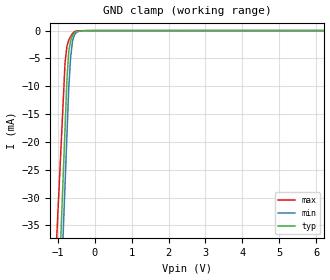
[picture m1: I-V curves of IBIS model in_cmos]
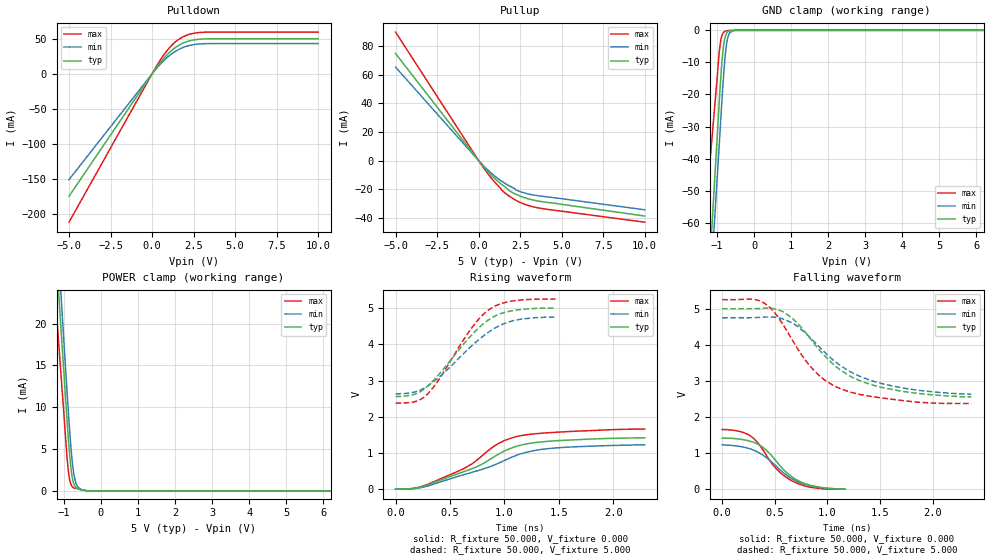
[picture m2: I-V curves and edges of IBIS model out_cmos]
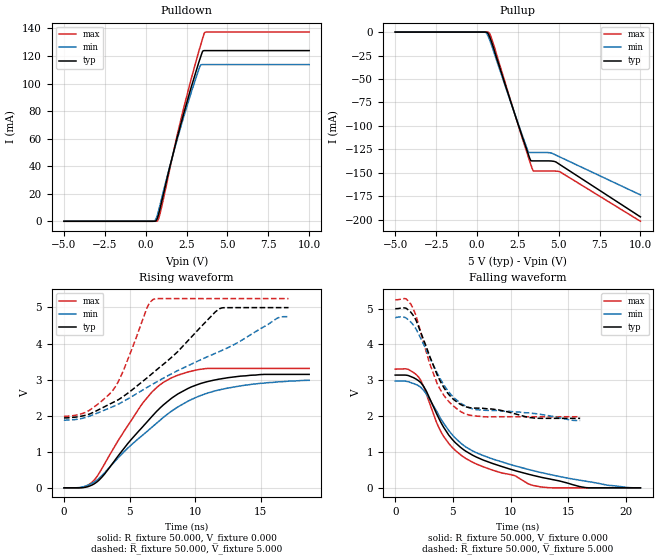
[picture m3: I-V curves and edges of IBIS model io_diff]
| Teraspeed Modeling Services.
| http://www.teraspeed.com
[IBIS Ver]  3.2
[File Name] adm1485arz.ibs
[File Rev]  3.0
[Source]  Measured and created by Teraspeed Consulting Group LLC
[Date]   1/06/10
[Notes]   Quality Check of this IBIS model: Model Passes IBIS Check
   Model parses into ICX IS. Simulation done with Hyperlynx.
   1. MIN TYP MAX information is based on Temperature and
   Voltage characteristics only.
   2. Package data gained using Tektronix Iconnect Software.
[Disclaimer]
| Use: Teraspeed Consulting Group LLC ("Teraspeed") has
| licensed IBIS models to specific integrated circuit
| suppliers ("IC Vendors") for use and distribution as
| follows: Each IC Vendor may use IBIS Models, and distribute
| them to IC Vendor's customers to use solely for developing
| printed circuit board designs. Users of this model may
| modify the IBIS model to suit its specific applications but
| rights to derivative works and such modifications shall belong
| to Teraspeed. No other distribution of these materials is
| permitted.
| DISCLAIMER OF WARRANTY: UNLESS OTHERWISE AGREED TO IN WRITING
| TERASPEED DISCLAIMS AND USER WAIVES ALL WARRANTIES, EXPRESS
| OR IMPLIED, INCLUDING WARRANTIES OF MERCHANTABILITY AND
| FITNESS FOR A PARTICULAR PURPOSE. IN NO EVENT SHALL
| TERASPEED BE LIABLE FOR ANY DIRECT OR INDIRECT DAMAGES,
| WHETHER IN CONTRACT OR TORT, INCLUDING, WITHOUT LIMITATION,
| LOST PROFITS, BUSINESS INTERRUPTION, OR LOST INFORMATION
| ARISING OUT OF THE USE OF OR THE INABILITY TO USE THE MODEL,
| EVEN IF TERASPEED HAS BEEN ADVISED OF THE POSSIBILITY OF SUCH
| DAMAGES.
[Copyright]
| This file is the legal property of Teraspeed Copyright(c) 2010.
| All other rights are reserved.
[Component]   ADM1485ARZ
[Manufacturer] Analog Devices
[Package]
| variable   typ   min   max
R_pkg  1.000E-02  1.000E-02  1.000E-02
L_pkg  1.995E-09  1.720E-09  2.190E-09
C_pkg  7.030E-13  6.650E-13  7.410E-13
[Pin] signal_name  model_name  R_pin  L_pin C_pin
1   RO   out_cmos  1.000E-02 2.190E-09 7.410E-13
2   *RE  in_cmos   1.000E-02 1.720E-09 6.650E-13
3   DE   in_cmos   1.000E-02 1.720E-09 6.650E-13
4   DI   in_cmos   1.000E-02 2.190E-09 7.410E-13
5   GND  GND   1.000E-02 2.190E-09 7.410E-13
6   A   io_diff   1.000E-02 1.720E-09 6.650E-13
7   B   io_diff   1.000E-02 1.720E-09 6.650E-13
8   VCC  POWER   1.000E-02 2.190E-09 7.410E-13
[Diff Pin] inv_pin vdiff tdelay_typ tdelay_min tdelay_max
6  7  200mV  1n  0n  5n
| Models and submodels in the file (3): in_cmos (Input), out_cmos (3-state), io_diff (I/O)
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[Model] in_cmos
Model_type Input
Vinl = 800.000mV
Vinh = 2.00000V
C_comp 1.21000pF 1.21000pF 1.21000pF
| variable typ   min   max
[Voltage Range] 5.00000V 4.75000V 5.25000V
[POWER Clamp Reference] 5.00000V 4.75000V 5.25000V
[GND Clamp Reference] 0.00000V 0.00000V 0.00000V
[Temperature Range]   25   85   -40
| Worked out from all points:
|   GND clamp passes 1 mA (typ) near -0.60 V on its own axis
[GND Clamp]
-5V       -739mA     -756.4mA   -589.3mA
-800mV    -17.49mA   -27.63mA   -5.761mA
-750mV    -8.902mA   -18.96mA   -2.82mA
-700mV    -3.761mA   -10.28mA   -1.695mA
-650mV    -1.8mA     -4.856mA   -1.06mA
-600mV    -919.8uA   -1.899mA   -550.9uA
-550mV    -460.1uA   -805.9uA   -222.9uA
-500mV    -194.5uA   -362uA     -62.22uA
-400mV    -130uA     -43.58uA   -38.03uA
-200mV    -26.29uA   -2.162uA   -1.712uA
10V       2.348uA    4.649uA    3.992uA
[POWER Clamp]
-5V       0A         0A         0A
10V       0A         0A         0A
[Model]   out_cmos
Model_type 3-state
Vref=0.000E+00
Rref=1.000E+06
Cref=1.500E-11
Vmeas=2.500E+00
C_comp   4.560E-13   4.470E-13   4.650E-13
[Voltage Range]   5.000E+00   4.750E+00   5.250E+00
[POWER Clamp Reference]   5.000E+00   4.750E+00   5.250E+00
[GND Clamp Reference]   0.000E+00   0.000E+00   0.000E+00
[Pullup Reference]   5.000E+00   4.750E+00   5.250E+00
[Pulldown Reference]   0.000E+00   0.000E+00   0.000E+00
[Temperature Range]   25   85   -40
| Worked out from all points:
|   slope of the pulldown table from 0 to 0.75 V, typ, clamps not added: 32.3 ohm
|   slope of the pullup table from 0 to 0.75 V, typ, clamps not added: 75.1 ohm
|   GND clamp passes 1 mA (typ) near -0.75 V on its own axis
|   POWER clamp passes 1 mA (typ) near -0.74 V on its own axis
|   rising waveform, R_fixture 50.000, V_fixture 0.000: 20-80 % time 620ps typ, 696ps min, 540ps max; typ from 0 V to 1.42 V
|   falling waveform, R_fixture 50.000, V_fixture 0.000: 20-80 % time 295ps typ, 322ps min, 280ps max; typ from 1.42 V to 0 V
|   rising waveform, R_fixture 50.000, V_fixture 5.000: 20-80 % time 423ps typ, 464ps min, 377ps max; typ from 2.56 V to 5 V
|   falling waveform, R_fixture 50.000, V_fixture 5.000: 20-80 % time 535ps typ, 578ps min, 461ps max; typ from 5 V to 2.56 V
[GND Clamp]
-5V       -819.5mA   -793.5mA   -554.7mA
-1.02V    -37.73mA   -50.24mA   -17.69mA
-1V       -33.85mA   -46.44mA   -15.37mA
-940mV    -21.96mA   -35.33mA   -6.658mA
-900mV    -14.6mA    -27.67mA   -3.095mA
-860mV    -8.568mA   -20.19mA   -1.331mA
-820mV    -4.373mA   -13.36mA   -597.8uA
-760mV    -1.303mA   -5.671mA   -174.2uA
-720mV    -514.8uA   -2.753mA   -133.1uA
-680mV    -214.7uA   -1.23mA    -50uA
-520mV    0A         0A         0A
10V       0A         0A         0A
[Power Clamp]
-5V       281.7mA    300.7mA    251.8mA
-1V       14.09mA    17.81mA    9.119mA
-920mV    8.739mA    12.15mA    4.232mA
-880mV    6.237mA    9.45mA     2.369mA
-860mV    5.087mA    8.146mA    1.704mA
-800mV    2.344mA    4.648mA    669.8uA
-760mV    1.264mA    2.909mA    441uA
-720mV    697.1uA    1.725mA    340uA
-680mV    431.6uA    965.5uA    305.5uA
-620mV    245.4uA    442.6uA    246.4uA
-340mV    0A         0A         0A
10V       0A         0A         0A
[Pullup]
-5V       74.77mA    65.28mA    89.77mA
120mV     -1.741mA   -1.485mA   -2.106mA
920mV     -11.94mA   -10.33mA   -14.38mA
1.42V     -16.99mA   -14.71mA   -20.97mA
1.74V     -19.83mA   -17.03mA   -24.01mA
2.02V     -22.23mA   -18.74mA   -26.18mA
2.26V     -23.61mA   -20.63mA   -27.87mA
2.6V      -25.29mA   -22.15mA   -29.74mA
3.58V     -28.29mA   -24.62mA   -33.06mA
10V       -38.77mA   -34.4mA    -43.07mA
[Pulldown]
-5V       -174.9mA   -151.1mA   -211.9mA
160mV     5.455mA    4.656mA    6.68mA
520mV     16.8mA     14.32mA    20.68mA
820mV     25.12mA    21.5mA     30.79mA
1.1V      31.79mA    27.09mA    38.77mA
1.48V     38.93mA    33.28mA    47.16mA
2.1V      46.14mA    39.63mA    55.48mA
2.86V     49.64mA    42.79mA    59.18mA
10V       50.27mA    43.41mA    59.78mA
[Rising Waveform]
R_fixture = 50.000
V_fixture = 0.000
V_fixture_min = 0.000
V_fixture_max = 0.000
|  time   V(typ)   V(min)   V(max)
0s        0V         0V         641.9uV
220ps     51.77mV    34.69mV    57.47mV
540ps     390.4mV    320.1mV    448.8mV
700ps     561.8mV    462.9mV    694.4mV
800ps     697.8mV    551.4mV    933.5mV
940ps     955.7mV    708.7mV    1.251V
1.115ns   1.187V     938.5mV    1.454V
1.285ns   1.287V     1.071V     1.53V
1.495ns   1.34V      1.144V     1.575V
2.29ns    1.415V     1.225V     1.658V
[Falling Waveform]
R_fixture = 50.000
V_fixture = 0.000
V_fixture_min = 0.000
V_fixture_max = 0.000
|  time   V(typ)   V(min)   V(max)
0s        1.415V     1.225V     1.654V
160ps     1.389V     1.187V     1.603V
280ps     1.315V     1.103V     1.451V
340ps     1.243V     1.024V     1.279V
395ps     1.14V      929mV      1.056V
515ps     769.7mV    629.3mV    563.7mV
595ps     506.3mV    423.9mV    355.9mV
685ps     297mV      251.6mV    198.2mV
880ps     78.69mV    69.35mV    34.64mV
1.165ns   0V         0V         0V
[Rising Waveform]
R_fixture = 50.000
V_fixture = 5.000
V_fixture_min = 4.750
V_fixture_max = 5.250
|  time   V(typ)   V(min)   V(max)
0s        2.558V     2.635V     2.374V
185ps     2.632V     2.692V     2.423V
295ps     2.845V     2.849V     2.629V
395ps     3.158V     3.081V     3.008V
700ps     4.257V     3.96V      4.454V
785ps     4.511V     4.178V     4.763V
870ps     4.706V     4.369V     4.981V
965ps     4.847V     4.53V      5.12V
1.095ns   4.939V     4.662V     5.206V
1.47ns    5V         4.75V      5.25V
[Falling Waveform]
R_fixture = 50.000
V_fixture = 5.000
V_fixture_min = 4.750
V_fixture_max = 5.250
|  time   V(typ)   V(min)   V(max)
0s        5V         4.75V      5.25V
295ps     5.001V     4.751V     5.262V
420ps     5.015V     4.77V      5.112V
525ps     4.976V     4.753V     4.79V
660ps     4.751V     4.615V     4.162V
885ps     3.99V      4.051V     3.25V
1.115ns   3.318V     3.441V     2.793V
1.32ns    2.991V     3.11V      2.616V
1.525ns   2.814V     2.918V     2.524V
2.365ns   2.558V     2.635V     2.374V
[Ramp]
dV/dt_r   8.5075E-01/6.1867E-10   7.3483E-01/6.9582E-10   9.9425E-01/5.4043E-10
dV/dt_f   1.4654E+00/5.3317E-10   1.2693E+00/5.7724E-10   1.7254E+00/4.5703E-10
R_load = 50
[Model]   io_diff
Model_type I/O
Vinl=-7.000E+00
Vinh=1.200E+01
Vref=0.000E+00
Rref=1.000E+06
Cref=1.000E-10
Vmeas=2.500E+00
C_comp   1.460E-12   1.370E-12   1.550E-12
[Voltage Range]   5.000E+00   4.750E+00   5.250E+00
[POWER Clamp Reference]   5.000E+00   4.750E+00   5.250E+00
[GND Clamp Reference]   0.000E+00   0.000E+00   0.000E+00
[Pullup Reference]   5.000E+00   4.750E+00   5.250E+00
[Pulldown Reference]   0.000E+00   0.000E+00   0.000E+00
[Temperature Range]   25   85   -40
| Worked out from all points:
|   slope of the pulldown table from 0 to 0.75 V, typ, clamps not added: 213 ohm
|   slope of the pullup table from 0 to 0.75 V, typ, clamps not added: 185 ohm
|   rising waveform, R_fixture 50.000, V_fixture 0.000: 20-80 % time 4.72ns typ, 5.83ns min, 3.6ns max; typ from 0.001 V to 3.14 V
|   falling waveform, R_fixture 50.000, V_fixture 0.000: 20-80 % time 5.96ns typ, 7.44ns min, 4.39ns max; typ from 3.14 V to 0.001 V
|   rising waveform, R_fixture 50.000, V_fixture 5.000: 20-80 % time 5.65ns typ, 9.11ns min, 2.38ns max; typ from 1.94 V to 5 V
|   falling waveform, R_fixture 50.000, V_fixture 5.000: 20-80 % time 2.64ns typ, 3.11ns min, 2.12ns max; typ from 5 V to 1.94 V
[GND Clamp]
-5V       0A         0A         0A
400mV     0A         0A         0A
480mV     0A         0A         0A
10V       0A         0A         0A
[Power Clamp]
-5V       0A         0A         0A
360mV     0A         0A         0A
460mV     0A         0A         0A
10V       0A         0A         0A
[Pullup]
-5V       110uA      111.8uA    101.3uA
460mV     104.6uA    40.6uA     98.76uA
720mV     -2.772mA   -5.758mA   -366.7uA
840mV     -7.855mA   -11.3mA    -4.006mA
1.08V     -20.62mA   -23.81mA   -16.48mA
3.08V     -127.1mA   -125mA     -129.8mA
3.16V     -131.2mA   -128.1mA   -134.2mA
3.28V     -136.7mA   -128.4mA   -140.6mA
3.44V     -137.4mA   -128.4mA   -147.9mA
4.46V     -137.5mA   -128.7mA   -148.3mA
5.08V     -141.4mA   -133.3mA   -149.1mA
10V       -197.2mA   -173.7mA   -201.9mA
[Pulldown]
-5V       -20.11uA   -16.03uA   -19.59uA
480mV     -15.92uA   28.35uA    -17.97uA
600mV     172.8uA    1.084mA    -12.48uA
740mV     3.113mA    5.59mA     614uA
940mV     12.3mA     14.85mA    8.584mA
1.48V     39.81mA    40.01mA    38.31mA
1.88V     58.56mA    57.44mA    60.07mA
2.82V     98.75mA    94.89mA    104.9mA
3.34V     118.6mA    113mA      127mA
3.48V     123.3mA    113.8mA    132.6mA
3.62V     123.9mA    113.8mA    137.1mA
10V       123.9mA    113.8mA    137.4mA
[Rising Waveform]
R_fixture = 50.000
V_fixture = 0.000
V_fixture_min = 0.000
V_fixture_max = 0.000
|  time   V(typ)   V(min)   V(max)
0s        1.005mV    801.3uV    979.5uV
1.425ns   4.562mV    26mV       19.6mV
2.25ns    99.39mV    147mV      196.7mV
2.9ns     298.9mV    342.2mV    537.7mV
6.075ns   1.722V     1.483V     2.382V
7.05ns    2.114V     1.788V     2.774V
8.125ns   2.461V     2.107V     3.036V
9.725ns   2.799V     2.45V      3.236V
11.83ns   3.013V     2.713V     3.31V
18.7ns    3.144V     2.98V      3.31V
[Falling Waveform]
R_fixture = 50.000
V_fixture = 0.000
V_fixture_min = 0.000
V_fixture_max = 0.000
|  time   V(typ)   V(min)   V(max)
0s        3.144V     2.98V      3.31V
1.1ns     3.134V     2.961V     3.307V
2.025ns   2.986V     2.846V     3.089V
2.65ns    2.725V     2.642V     2.662V
4.175ns   1.7V       1.812V     1.446V
5.2ns     1.262V     1.39V      1.047V
6.7ns     911.9mV    1.031V     714.6mV
12.6ns    298.6mV    429.8mV    27.11mV
16.53ns   6.634mV    185.7mV    979.5uV
21.25ns   1.005mV    801.3uV    979.5uV
[Rising Waveform]
R_fixture = 50.000
V_fixture = 5.000
V_fixture_min = 4.750
V_fixture_max = 5.250
|  time   V(typ)   V(min)   V(max)
0s        1.938V     1.879V     1.983V
1.75ns    2.023V     1.963V     2.11V
3.75ns    2.369V     2.254V     2.714V
4.55ns    2.54V      2.4V       3.267V
6.35ns    3.053V     2.786V     5.003V
6.8ns     3.19V      2.882V     5.222V
8.675ns   3.774V     3.251V     5.245V
11.85ns   4.962V     3.777V     5.245V
16.25ns   4.995V     4.699V     5.245V
17.12ns   4.995V     4.744V     5.245V
[Falling Waveform]
R_fixture = 50.000
V_fixture = 5.000
V_fixture_min = 4.750
V_fixture_max = 5.250
|  time   V(typ)   V(min)   V(max)
0s        4.995V     4.744V     5.245V
1.35ns    4.898V     4.623V     5.124V
1.825ns   4.657V     4.418V     4.776V
2.975ns   3.681V     3.647V     3.478V
3.625ns   3.157V     3.209V     2.916V
4.5ns     2.661V     2.735V     2.46V
5.625ns   2.333V     2.37V      2.137V
6.975ns   2.223V     2.183V     2.001V
11.7ns    1.958V     2.085V     1.983V
16.02ns   1.938V     1.879V     1.983V
[Ramp]
dV/dt_r   1.8864E+00/4.7136E-09   1.7885E+00/5.8125E-09   1.9866E+00/3.5926E-09
dV/dt_f   3.6639E+00/2.6058E-09   3.4891E+00/3.0596E-09   3.7926E+00/2.0953E-09
R_load = 50
